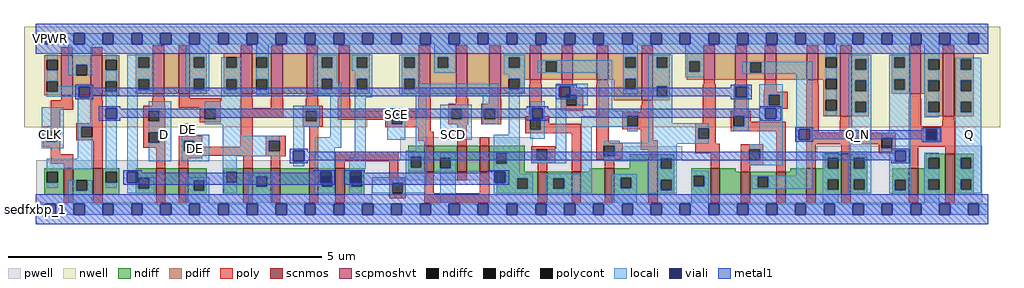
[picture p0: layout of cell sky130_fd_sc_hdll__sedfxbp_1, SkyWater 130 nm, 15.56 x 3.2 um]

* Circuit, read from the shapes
.subckt sky130_fd_sc_hdll__sedfxbp_1 CLK D DE SCD SCE VGND VNB VPB VPWR Q Q_N
XM1 VGND CLK n1 VNB sky130_fd_pr__nfet_01v8 w=0.42 l=0.15
XM2 n2 n1 VGND VNB sky130_fd_pr__nfet_01v8 w=0.42 l=0.15
XM3 n3 D n4 VNB sky130_fd_pr__nfet_01v8 w=0.42 l=0.15
XM4 VGND DE n3 VNB sky130_fd_pr__nfet_01v8 w=0.42 l=0.15
XM5 VGND DE n5 VNB sky130_fd_pr__nfet_01v8 w=0.42 l=0.15
XM6 n6 n5 VGND VNB sky130_fd_pr__nfet_01v8 w=0.42 l=0.15
XM7 n4 n7 n6 VNB sky130_fd_pr__nfet_01v8 w=0.42 l=0.15
XM8 n8 n9 n4 VNB sky130_fd_pr__nfet_01v8 w=0.42 l=0.15
XM9 VGND SCE n9 VNB sky130_fd_pr__nfet_01v8 w=0.42 l=0.15
XM10 n10 SCD VGND VNB sky130_fd_pr__nfet_01v8 w=0.42 l=0.15
XM11 n8 SCE n10 VNB sky130_fd_pr__nfet_01v8 w=0.42 l=0.15
XM12 n11 n1 n8 VNB sky130_fd_pr__nfet_01v8 w=0.36 l=0.15
XM13 n12 n2 n11 VNB sky130_fd_pr__nfet_01v8 w=0.36 l=0.15
XM14 VGND n13 n12 VNB sky130_fd_pr__nfet_01v8 w=0.42 l=0.15
XM15 n13 n11 VGND VNB sky130_fd_pr__nfet_01v8 w=0.64 l=0.15
XM16 n14 n13 VGND VNB sky130_fd_pr__nfet_01v8 w=0.42 l=0.15
XM17 n15 n2 n14 VNB sky130_fd_pr__nfet_01v8 w=0.36 l=0.15
XM18 n16 n1 n15 VNB sky130_fd_pr__nfet_01v8 w=0.36 l=0.15
XM19 VGND n7 n16 VNB sky130_fd_pr__nfet_01v8 w=0.42 l=0.15
XM20 Q_N n7 VGND VNB sky130_fd_pr__nfet_01v8 w=0.65 l=0.15
XM21 VGND n15 n7 VNB sky130_fd_pr__nfet_01v8 w=0.42 l=0.15
XM22 Q n15 VGND VNB sky130_fd_pr__nfet_01v8 w=0.65 l=0.15
XM23 VPWR CLK n1 VPB sky130_fd_pr__pfet_01v8_hvt w=0.64 l=0.18
XM24 n2 n1 VPWR VPB sky130_fd_pr__pfet_01v8_hvt w=0.64 l=0.18
XM25 n17 D n4 VPB sky130_fd_pr__pfet_01v8_hvt w=0.64 l=0.18
XM26 VPWR n5 n17 VPB sky130_fd_pr__pfet_01v8_hvt w=0.64 l=0.18
XM27 VPWR DE n5 VPB sky130_fd_pr__pfet_01v8_hvt w=0.64 l=0.18
XM28 n18 DE VPWR VPB sky130_fd_pr__pfet_01v8_hvt w=0.64 l=0.18
XM29 n4 n7 n18 VPB sky130_fd_pr__pfet_01v8_hvt w=0.64 l=0.18
XM30 n8 SCE n4 VPB sky130_fd_pr__pfet_01v8_hvt w=0.64 l=0.18
XM31 VPWR SCE n9 VPB sky130_fd_pr__pfet_01v8_hvt w=0.64 l=0.18
XM32 n19 SCD VPWR VPB sky130_fd_pr__pfet_01v8_hvt w=0.64 l=0.18
XM33 n8 n9 n19 VPB sky130_fd_pr__pfet_01v8_hvt w=0.64 l=0.18
XM34 n11 n2 n8 VPB sky130_fd_pr__pfet_01v8_hvt w=0.42 l=0.18
XM35 n20 n1 n11 VPB sky130_fd_pr__pfet_01v8_hvt w=0.42 l=0.18
XM36 VPWR n13 n20 VPB sky130_fd_pr__pfet_01v8_hvt w=0.42 l=0.18
XM37 n13 n11 VPWR VPB sky130_fd_pr__pfet_01v8_hvt w=0.75 l=0.18
XM38 n21 n13 VPWR VPB sky130_fd_pr__pfet_01v8_hvt w=0.42 l=0.18
XM39 n15 n1 n21 VPB sky130_fd_pr__pfet_01v8_hvt w=0.42 l=0.18
XM40 n22 n2 n15 VPB sky130_fd_pr__pfet_01v8_hvt w=0.42 l=0.18
XM41 VPWR n7 n22 VPB sky130_fd_pr__pfet_01v8_hvt w=0.42 l=0.18
XM42 Q_N n7 VPWR VPB sky130_fd_pr__pfet_01v8_hvt w=1 l=0.18
XM43 VPWR n15 n7 VPB sky130_fd_pr__pfet_01v8_hvt w=0.64 l=0.18
XM44 Q n15 VPWR VPB sky130_fd_pr__pfet_01v8_hvt w=1 l=0.18
.ends

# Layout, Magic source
magic
tech sky130A
magscale 1 2
<< nwell >>
rect -38 287 3074 582
rect -38 261 1057 287
rect 1597 261 3074 287
<< pwell >>
rect 1161 157 1584 229
rect 1867 157 2061 201
rect 2490 157 3017 203
rect 1 93 3017 157
rect 1 21 1073 93
rect 1444 21 3017 93
rect 29 -17 63 21
<< scnmos >>
rect 89 47 119 131
rect 183 47 213 131
rect 383 47 413 131
rect 455 47 485 131
rect 661 47 691 131
rect 749 47 779 131
rect 871 47 901 131
rect 955 47 985 131
rect 1239 119 1269 203
rect 1343 119 1373 203
rect 1415 119 1445 203
rect 1600 47 1630 119
rect 1708 47 1738 119
rect 1814 47 1844 131
rect 1953 47 1983 175
rect 2151 47 2181 131
rect 2248 47 2278 119
rect 2361 47 2391 119
rect 2456 47 2486 131
rect 2568 47 2598 177
rect 2783 47 2813 131
rect 2900 47 2930 177
<< scpmoshvt >>
rect 81 363 117 491
rect 175 363 211 491
rect 373 369 409 497
rect 455 369 491 497
rect 653 369 689 497
rect 751 369 787 497
rect 863 369 899 497
rect 965 369 1001 497
rect 1221 369 1257 497
rect 1340 369 1376 497
rect 1446 369 1482 497
rect 1575 413 1611 497
rect 1676 413 1712 497
rect 1789 413 1825 497
rect 1931 347 1967 497
rect 2129 413 2165 497
rect 2230 413 2266 497
rect 2324 413 2360 497
rect 2458 413 2494 497
rect 2565 297 2601 497
rect 2785 369 2821 497
rect 2892 297 2928 497
<< ndiff >>
rect 27 119 89 131
rect 27 85 35 119
rect 69 85 89 119
rect 27 47 89 85
rect 119 93 183 131
rect 119 59 129 93
rect 163 59 183 93
rect 119 47 183 59
rect 213 119 265 131
rect 213 85 223 119
rect 257 85 265 119
rect 213 47 265 85
rect 319 100 383 131
rect 319 66 327 100
rect 361 66 383 100
rect 319 47 383 66
rect 413 47 455 131
rect 485 93 545 131
rect 485 59 503 93
rect 537 59 545 93
rect 485 47 545 59
rect 599 119 661 131
rect 599 85 607 119
rect 641 85 661 119
rect 599 47 661 85
rect 691 106 749 131
rect 691 72 703 106
rect 737 72 749 106
rect 691 47 749 72
rect 779 47 871 131
rect 901 106 955 131
rect 901 72 911 106
rect 945 72 955 106
rect 901 47 955 72
rect 985 106 1047 131
rect 985 72 1005 106
rect 1039 72 1047 106
rect 985 47 1047 72
rect 1187 167 1239 203
rect 1187 133 1195 167
rect 1229 133 1239 167
rect 1187 119 1239 133
rect 1269 165 1343 203
rect 1269 131 1289 165
rect 1323 131 1343 165
rect 1269 119 1343 131
rect 1373 119 1415 203
rect 1445 180 1558 203
rect 1445 146 1467 180
rect 1501 146 1558 180
rect 1445 119 1558 146
rect 1893 131 1953 175
rect 1764 119 1814 131
rect 1470 99 1600 119
rect 1470 65 1534 99
rect 1568 65 1600 99
rect 1470 47 1600 65
rect 1630 99 1708 119
rect 1630 65 1650 99
rect 1684 65 1708 99
rect 1630 47 1708 65
rect 1738 47 1814 119
rect 1844 101 1953 131
rect 1844 67 1865 101
rect 1899 67 1953 101
rect 1844 47 1953 67
rect 1983 163 2035 175
rect 1983 129 1993 163
rect 2027 129 2035 163
rect 1983 95 2035 129
rect 1983 61 1993 95
rect 2027 61 2035 95
rect 1983 47 2035 61
rect 2089 107 2151 131
rect 2089 73 2097 107
rect 2131 73 2151 107
rect 2089 47 2151 73
rect 2181 119 2231 131
rect 2516 164 2568 177
rect 2516 131 2524 164
rect 2406 119 2456 131
rect 2181 47 2248 119
rect 2278 104 2361 119
rect 2278 70 2301 104
rect 2335 70 2361 104
rect 2278 47 2361 70
rect 2391 47 2456 119
rect 2486 130 2524 131
rect 2558 130 2568 164
rect 2486 96 2568 130
rect 2486 62 2524 96
rect 2558 62 2568 96
rect 2486 47 2568 62
rect 2598 164 2650 177
rect 2598 130 2608 164
rect 2642 130 2650 164
rect 2838 164 2900 177
rect 2838 131 2846 164
rect 2598 96 2650 130
rect 2598 62 2608 96
rect 2642 62 2650 96
rect 2598 47 2650 62
rect 2731 94 2783 131
rect 2731 60 2739 94
rect 2773 60 2783 94
rect 2731 47 2783 60
rect 2813 130 2846 131
rect 2880 130 2900 164
rect 2813 96 2900 130
rect 2813 62 2846 96
rect 2880 62 2900 96
rect 2813 47 2900 62
rect 2930 164 2991 177
rect 2930 130 2949 164
rect 2983 130 2991 164
rect 2930 96 2991 130
rect 2930 62 2949 96
rect 2983 62 2991 96
rect 2930 47 2991 62
<< pdiff >>
rect 27 477 81 491
rect 27 443 35 477
rect 69 443 81 477
rect 27 409 81 443
rect 27 375 35 409
rect 69 375 81 409
rect 27 363 81 375
rect 117 461 175 491
rect 117 427 129 461
rect 163 427 175 461
rect 117 363 175 427
rect 211 477 265 491
rect 211 443 223 477
rect 257 443 265 477
rect 211 409 265 443
rect 211 375 223 409
rect 257 375 265 409
rect 211 363 265 375
rect 319 485 373 497
rect 319 451 327 485
rect 361 451 373 485
rect 319 415 373 451
rect 319 381 327 415
rect 361 381 373 415
rect 319 369 373 381
rect 409 369 455 497
rect 491 485 545 497
rect 491 451 503 485
rect 537 451 545 485
rect 491 417 545 451
rect 491 383 503 417
rect 537 383 545 417
rect 491 369 545 383
rect 599 485 653 497
rect 599 451 607 485
rect 641 451 653 485
rect 599 415 653 451
rect 599 381 607 415
rect 641 381 653 415
rect 599 369 653 381
rect 689 485 751 497
rect 689 451 703 485
rect 737 451 751 485
rect 689 415 751 451
rect 689 381 703 415
rect 737 381 751 415
rect 689 369 751 381
rect 787 369 863 497
rect 899 485 965 497
rect 899 451 911 485
rect 945 451 965 485
rect 899 417 965 451
rect 899 383 911 417
rect 945 383 965 417
rect 899 369 965 383
rect 1001 485 1065 497
rect 1001 451 1023 485
rect 1057 451 1065 485
rect 1001 417 1065 451
rect 1001 383 1023 417
rect 1057 383 1065 417
rect 1001 369 1065 383
rect 1166 485 1221 497
rect 1166 451 1174 485
rect 1208 451 1221 485
rect 1166 417 1221 451
rect 1166 383 1174 417
rect 1208 383 1221 417
rect 1166 369 1221 383
rect 1257 485 1340 497
rect 1257 451 1281 485
rect 1315 451 1340 485
rect 1257 369 1340 451
rect 1376 369 1446 497
rect 1482 485 1575 497
rect 1482 451 1508 485
rect 1542 451 1575 485
rect 1482 417 1575 451
rect 1482 383 1508 417
rect 1542 413 1575 417
rect 1611 472 1676 497
rect 1611 438 1626 472
rect 1660 438 1676 472
rect 1611 413 1676 438
rect 1712 413 1789 497
rect 1825 485 1931 497
rect 1825 451 1879 485
rect 1913 451 1931 485
rect 1825 417 1931 451
rect 1825 413 1879 417
rect 1542 383 1558 413
rect 1482 369 1558 383
rect 1842 383 1879 413
rect 1913 383 1931 417
rect 1842 347 1931 383
rect 1967 485 2021 497
rect 1967 451 1979 485
rect 2013 451 2021 485
rect 1967 393 2021 451
rect 2075 472 2129 497
rect 2075 438 2083 472
rect 2117 438 2129 472
rect 2075 413 2129 438
rect 2165 413 2230 497
rect 2266 469 2324 497
rect 2266 435 2278 469
rect 2312 435 2324 469
rect 2266 413 2324 435
rect 2360 413 2458 497
rect 2494 485 2565 497
rect 2494 451 2519 485
rect 2553 451 2565 485
rect 2494 417 2565 451
rect 2494 413 2519 417
rect 1967 359 1979 393
rect 2013 359 2021 393
rect 1967 347 2021 359
rect 2511 383 2519 413
rect 2553 383 2565 417
rect 2511 349 2565 383
rect 2511 315 2519 349
rect 2553 315 2565 349
rect 2511 297 2565 315
rect 2601 479 2655 497
rect 2601 445 2613 479
rect 2647 445 2655 479
rect 2601 411 2655 445
rect 2601 377 2613 411
rect 2647 377 2655 411
rect 2601 343 2655 377
rect 2729 485 2785 497
rect 2729 451 2737 485
rect 2771 451 2785 485
rect 2729 415 2785 451
rect 2729 381 2737 415
rect 2771 381 2785 415
rect 2729 369 2785 381
rect 2821 479 2892 497
rect 2821 445 2846 479
rect 2880 445 2892 479
rect 2821 411 2892 445
rect 2821 377 2846 411
rect 2880 377 2892 411
rect 2821 369 2892 377
rect 2601 309 2613 343
rect 2647 309 2655 343
rect 2601 297 2655 309
rect 2838 343 2892 369
rect 2838 309 2846 343
rect 2880 309 2892 343
rect 2838 297 2892 309
rect 2928 479 2991 497
rect 2928 445 2949 479
rect 2983 445 2991 479
rect 2928 411 2991 445
rect 2928 377 2949 411
rect 2983 377 2991 411
rect 2928 343 2991 377
rect 2928 309 2949 343
rect 2983 309 2991 343
rect 2928 297 2991 309
<< ndiffc >>
rect 35 85 69 119
rect 129 59 163 93
rect 223 85 257 119
rect 327 66 361 100
rect 503 59 537 93
rect 607 85 641 119
rect 703 72 737 106
rect 911 72 945 106
rect 1005 72 1039 106
rect 1195 133 1229 167
rect 1289 131 1323 165
rect 1467 146 1501 180
rect 1534 65 1568 99
rect 1650 65 1684 99
rect 1865 67 1899 101
rect 1993 129 2027 163
rect 1993 61 2027 95
rect 2097 73 2131 107
rect 2301 70 2335 104
rect 2524 130 2558 164
rect 2524 62 2558 96
rect 2608 130 2642 164
rect 2608 62 2642 96
rect 2739 60 2773 94
rect 2846 130 2880 164
rect 2846 62 2880 96
rect 2949 130 2983 164
rect 2949 62 2983 96
<< pdiffc >>
rect 35 443 69 477
rect 35 375 69 409
rect 129 427 163 461
rect 223 443 257 477
rect 223 375 257 409
rect 327 451 361 485
rect 327 381 361 415
rect 503 451 537 485
rect 503 383 537 417
rect 607 451 641 485
rect 607 381 641 415
rect 703 451 737 485
rect 703 381 737 415
rect 911 451 945 485
rect 911 383 945 417
rect 1023 451 1057 485
rect 1023 383 1057 417
rect 1174 451 1208 485
rect 1174 383 1208 417
rect 1281 451 1315 485
rect 1508 451 1542 485
rect 1508 383 1542 417
rect 1626 438 1660 472
rect 1879 451 1913 485
rect 1879 383 1913 417
rect 1979 451 2013 485
rect 2083 438 2117 472
rect 2278 435 2312 469
rect 2519 451 2553 485
rect 1979 359 2013 393
rect 2519 383 2553 417
rect 2519 315 2553 349
rect 2613 445 2647 479
rect 2613 377 2647 411
rect 2737 451 2771 485
rect 2737 381 2771 415
rect 2846 445 2880 479
rect 2846 377 2880 411
rect 2613 309 2647 343
rect 2846 309 2880 343
rect 2949 445 2983 479
rect 2949 377 2983 411
rect 2949 309 2983 343
<< poly >>
rect 81 491 117 517
rect 175 491 211 517
rect 373 497 409 523
rect 455 497 491 523
rect 653 497 689 523
rect 751 497 787 523
rect 863 497 899 523
rect 965 497 1001 523
rect 1221 497 1257 523
rect 1340 497 1376 523
rect 1446 497 1482 523
rect 1575 497 1611 523
rect 1676 497 1712 523
rect 1789 497 1825 523
rect 1931 497 1967 523
rect 2129 497 2165 523
rect 2230 497 2266 523
rect 2324 497 2360 523
rect 2458 497 2494 523
rect 2565 497 2601 523
rect 2785 497 2821 523
rect 2892 497 2928 523
rect 1575 398 1611 413
rect 1676 398 1712 413
rect 1789 398 1825 413
rect 81 348 117 363
rect 175 348 211 363
rect 373 354 409 369
rect 455 354 491 369
rect 653 354 689 369
rect 751 354 787 369
rect 863 354 899 369
rect 965 354 1001 369
rect 1221 354 1257 369
rect 1340 354 1376 369
rect 1446 354 1482 369
rect 47 318 119 348
rect 47 265 77 318
rect 173 274 213 348
rect 371 330 411 354
rect 23 249 77 265
rect 23 215 33 249
rect 67 215 77 249
rect 129 264 213 274
rect 129 230 145 264
rect 179 230 213 264
rect 129 220 213 230
rect 23 199 77 215
rect 47 176 77 199
rect 47 146 119 176
rect 89 131 119 146
rect 183 131 213 220
rect 343 314 413 330
rect 455 324 589 354
rect 343 280 359 314
rect 393 280 413 314
rect 343 246 413 280
rect 523 321 589 324
rect 523 287 539 321
rect 573 287 589 321
rect 523 277 589 287
rect 651 322 691 354
rect 749 322 789 354
rect 861 330 901 354
rect 651 292 789 322
rect 851 314 915 330
rect 343 212 359 246
rect 393 212 413 246
rect 343 196 413 212
rect 383 131 413 196
rect 455 219 531 235
rect 455 185 471 219
rect 505 200 531 219
rect 651 200 691 292
rect 851 280 861 314
rect 895 280 915 314
rect 963 315 1003 354
rect 1219 315 1259 354
rect 1338 337 1378 354
rect 1444 337 1484 354
rect 963 305 1259 315
rect 963 285 1134 305
rect 851 264 915 280
rect 1114 271 1134 285
rect 1168 271 1259 305
rect 1314 321 1378 337
rect 1314 287 1324 321
rect 1358 287 1378 321
rect 1314 271 1378 287
rect 1420 321 1484 337
rect 1420 287 1430 321
rect 1464 287 1484 321
rect 1573 297 1613 398
rect 1674 381 1714 398
rect 1674 365 1745 381
rect 1674 331 1691 365
rect 1725 331 1745 365
rect 1674 315 1745 331
rect 1420 271 1484 287
rect 1560 287 1636 297
rect 505 185 691 200
rect 455 170 691 185
rect 455 162 531 170
rect 455 131 485 162
rect 661 131 691 170
rect 733 219 797 235
rect 733 185 743 219
rect 777 185 797 219
rect 733 169 797 185
rect 749 131 779 169
rect 871 131 901 264
rect 1114 261 1259 271
rect 1219 247 1259 261
rect 1219 218 1269 247
rect 1239 203 1269 218
rect 1343 203 1373 271
rect 1560 253 1576 287
rect 1610 273 1636 287
rect 1610 253 1738 273
rect 1560 243 1738 253
rect 1415 203 1445 229
rect 955 153 1156 183
rect 955 131 985 153
rect 1126 101 1156 153
rect 1580 191 1656 201
rect 1580 157 1596 191
rect 1630 157 1656 191
rect 1580 147 1656 157
rect 1600 119 1630 147
rect 1708 119 1738 243
rect 1787 213 1827 398
rect 2129 398 2165 413
rect 2230 398 2266 413
rect 2324 398 2360 413
rect 2458 398 2494 413
rect 1931 332 1967 347
rect 1929 309 1969 332
rect 1869 299 1969 309
rect 1869 265 1885 299
rect 1919 265 1969 299
rect 2127 275 2167 398
rect 2228 315 2268 398
rect 2322 375 2362 398
rect 2321 365 2397 375
rect 2321 331 2337 365
rect 2371 331 2397 365
rect 2321 321 2397 331
rect 1869 255 1969 265
rect 1929 220 1969 255
rect 2102 259 2167 275
rect 2102 225 2112 259
rect 2146 225 2167 259
rect 2215 299 2279 315
rect 2215 265 2225 299
rect 2259 279 2279 299
rect 2259 265 2391 279
rect 2215 249 2391 265
rect 1787 203 1871 213
rect 1787 169 1811 203
rect 1845 169 1871 203
rect 1929 190 1983 220
rect 1953 175 1983 190
rect 2102 209 2167 225
rect 2102 179 2181 209
rect 1787 159 1871 169
rect 1814 131 1844 159
rect 1126 85 1180 101
rect 1126 51 1136 85
rect 1170 51 1180 85
rect 89 21 119 47
rect 183 21 213 47
rect 383 21 413 47
rect 455 21 485 47
rect 661 21 691 47
rect 749 21 779 47
rect 871 21 901 47
rect 955 21 985 47
rect 1126 35 1180 51
rect 1239 51 1269 119
rect 1343 93 1373 119
rect 1415 51 1445 119
rect 1239 21 1445 51
rect 2151 131 2181 179
rect 2248 191 2319 207
rect 2248 157 2275 191
rect 2309 157 2319 191
rect 2248 141 2319 157
rect 2248 119 2278 141
rect 2361 119 2391 249
rect 2456 244 2496 398
rect 2785 354 2821 369
rect 2565 282 2601 297
rect 2563 244 2603 282
rect 2783 265 2823 354
rect 2892 282 2928 297
rect 2890 265 2930 282
rect 2783 249 2930 265
rect 2456 228 2741 244
rect 2456 207 2697 228
rect 2456 131 2486 207
rect 2568 177 2598 207
rect 2687 194 2697 207
rect 2731 194 2741 228
rect 2687 178 2741 194
rect 2783 215 2839 249
rect 2873 215 2930 249
rect 2783 199 2930 215
rect 2783 131 2813 199
rect 2900 177 2930 199
rect 1600 21 1630 47
rect 1708 21 1738 47
rect 1814 21 1844 47
rect 1953 21 1983 47
rect 2151 21 2181 47
rect 2248 21 2278 47
rect 2361 21 2391 47
rect 2456 21 2486 47
rect 2568 21 2598 47
rect 2783 21 2813 47
rect 2900 21 2930 47
<< polycont >>
rect 33 215 67 249
rect 145 230 179 264
rect 359 280 393 314
rect 539 287 573 321
rect 359 212 393 246
rect 471 185 505 219
rect 861 280 895 314
rect 1134 271 1168 305
rect 1324 287 1358 321
rect 1430 287 1464 321
rect 1691 331 1725 365
rect 743 185 777 219
rect 1576 253 1610 287
rect 1596 157 1630 191
rect 1885 265 1919 299
rect 2337 331 2371 365
rect 2112 225 2146 259
rect 2225 265 2259 299
rect 1811 169 1845 203
rect 1136 51 1170 85
rect 2275 157 2309 191
rect 2697 194 2731 228
rect 2839 215 2873 249
<< locali >>
rect 0 527 29 561
rect 63 527 121 561
rect 155 527 213 561
rect 247 527 305 561
rect 339 527 397 561
rect 431 527 489 561
rect 523 527 581 561
rect 615 527 673 561
rect 707 527 765 561
rect 799 527 857 561
rect 891 527 949 561
rect 983 527 1041 561
rect 1075 527 1133 561
rect 1167 527 1225 561
rect 1259 527 1317 561
rect 1351 527 1409 561
rect 1443 527 1501 561
rect 1535 527 1593 561
rect 1627 527 1685 561
rect 1719 527 1777 561
rect 1811 527 1869 561
rect 1903 527 1961 561
rect 1995 527 2053 561
rect 2087 527 2145 561
rect 2179 527 2237 561
rect 2271 527 2329 561
rect 2363 527 2421 561
rect 2455 527 2513 561
rect 2547 527 2605 561
rect 2639 527 2697 561
rect 2731 527 2789 561
rect 2823 527 2881 561
rect 2915 527 2973 561
rect 3007 527 3036 561
rect 35 477 69 493
rect 35 409 69 443
rect 103 461 179 527
rect 103 427 129 461
rect 163 427 179 461
rect 223 477 257 493
rect 223 409 257 443
rect 69 391 179 393
rect 69 375 137 391
rect 35 359 137 375
rect 133 357 137 359
rect 171 357 179 391
rect 19 249 89 325
rect 19 215 33 249
rect 67 215 89 249
rect 19 195 89 215
rect 133 264 179 357
rect 133 230 145 264
rect 133 161 179 230
rect 35 127 179 161
rect 223 323 257 375
rect 35 119 69 127
rect 223 119 257 289
rect 35 69 69 85
rect 103 59 129 93
rect 163 59 179 93
rect 223 69 257 85
rect 291 485 377 493
rect 291 451 327 485
rect 361 451 377 485
rect 291 415 377 451
rect 291 381 327 415
rect 361 381 377 415
rect 291 378 377 381
rect 477 485 553 527
rect 703 485 742 527
rect 477 451 503 485
rect 537 451 553 485
rect 477 417 553 451
rect 477 383 503 417
rect 537 383 553 417
rect 477 378 553 383
rect 591 451 607 485
rect 641 451 657 485
rect 591 415 657 451
rect 591 381 607 415
rect 641 381 657 415
rect 291 119 325 378
rect 591 344 657 381
rect 737 451 742 485
rect 703 415 742 451
rect 737 381 742 415
rect 703 365 742 381
rect 885 485 961 493
rect 885 451 911 485
rect 945 451 961 485
rect 885 417 961 451
rect 1007 485 1073 493
rect 1007 451 1023 485
rect 1057 451 1073 485
rect 1007 442 1073 451
rect 885 383 911 417
rect 945 404 961 417
rect 1017 417 1073 442
rect 945 383 973 404
rect 885 364 973 383
rect 359 314 431 344
rect 393 280 431 314
rect 359 246 431 280
rect 539 321 657 344
rect 573 287 657 321
rect 393 212 431 246
rect 359 153 431 212
rect 465 237 505 274
rect 539 271 657 287
rect 465 219 553 237
rect 465 185 471 219
rect 505 185 553 219
rect 465 153 553 185
rect 596 235 657 271
rect 821 314 905 330
rect 821 280 861 314
rect 895 280 905 314
rect 821 264 905 280
rect 596 219 777 235
rect 596 185 743 219
rect 596 169 777 185
rect 821 187 855 264
rect 939 230 973 364
rect 596 119 641 169
rect 821 137 855 153
rect 889 196 973 230
rect 1017 383 1023 417
rect 1057 383 1073 417
rect 1017 357 1073 383
rect 1158 485 1226 493
rect 1158 451 1174 485
rect 1208 451 1226 485
rect 1158 417 1226 451
rect 1270 485 1339 527
rect 1270 451 1281 485
rect 1315 451 1339 485
rect 1270 435 1339 451
rect 1492 485 1558 493
rect 1492 451 1508 485
rect 1542 451 1558 485
rect 1872 485 1919 527
rect 1492 430 1558 451
rect 1600 472 1838 475
rect 1600 438 1626 472
rect 1660 438 1838 472
rect 1600 435 1838 438
rect 1158 383 1174 417
rect 1208 401 1226 417
rect 1508 417 1558 430
rect 1208 383 1474 401
rect 1158 367 1474 383
rect 325 100 377 103
rect 325 85 327 100
rect 103 17 179 59
rect 291 66 327 85
rect 361 66 377 100
rect 291 51 377 66
rect 477 93 553 103
rect 477 59 503 93
rect 537 59 553 93
rect 477 17 553 59
rect 596 85 607 119
rect 596 51 641 85
rect 677 106 753 122
rect 677 72 703 106
rect 737 72 753 106
rect 677 17 753 72
rect 889 119 953 196
rect 1017 165 1051 357
rect 1121 305 1177 323
rect 1121 271 1134 305
rect 1168 271 1177 305
rect 1121 221 1177 271
rect 1211 187 1245 367
rect 1289 321 1390 333
rect 1289 287 1324 321
rect 1358 287 1390 321
rect 1289 221 1390 287
rect 1424 321 1474 367
rect 1424 287 1430 321
rect 1464 287 1474 321
rect 1424 271 1474 287
rect 1542 383 1558 417
rect 1508 373 1558 383
rect 1657 391 1760 401
rect 1508 237 1542 373
rect 1657 357 1669 391
rect 1703 365 1760 391
rect 889 85 907 119
rect 941 106 953 119
rect 889 72 911 85
rect 945 72 953 106
rect 889 51 953 72
rect 999 129 1051 165
rect 1179 167 1245 187
rect 1179 133 1195 167
rect 1229 133 1245 167
rect 999 119 1039 129
rect 999 85 1003 119
rect 1037 106 1039 119
rect 1179 103 1245 133
rect 999 72 1005 85
rect 999 51 1039 72
rect 1073 85 1245 103
rect 1073 51 1136 85
rect 1170 51 1245 85
rect 1289 165 1339 181
rect 1323 131 1339 165
rect 1289 17 1339 131
rect 1460 180 1542 237
rect 1576 323 1623 344
rect 1576 289 1582 323
rect 1616 289 1623 323
rect 1576 287 1623 289
rect 1610 253 1623 287
rect 1576 225 1623 253
rect 1657 191 1691 357
rect 1725 331 1760 365
rect 1794 315 1838 435
rect 1872 451 1879 485
rect 1913 451 1919 485
rect 1872 417 1919 451
rect 1872 383 1879 417
rect 1913 383 1919 417
rect 1872 367 1919 383
rect 1953 485 2029 493
rect 1953 451 1979 485
rect 2013 451 2029 485
rect 1953 393 2029 451
rect 2071 472 2129 527
rect 2071 438 2083 472
rect 2117 438 2129 472
rect 2519 485 2553 527
rect 2071 421 2129 438
rect 2252 469 2475 471
rect 2252 435 2278 469
rect 2312 435 2475 469
rect 2252 433 2475 435
rect 1953 359 1979 393
rect 2013 359 2029 393
rect 1794 299 1919 315
rect 1794 297 1885 299
rect 1460 146 1467 180
rect 1501 146 1542 180
rect 1580 157 1596 191
rect 1630 157 1691 191
rect 1580 147 1691 157
rect 1739 265 1885 297
rect 1739 263 1919 265
rect 1460 119 1542 146
rect 1460 85 1463 119
rect 1497 113 1542 119
rect 1739 113 1773 263
rect 1885 249 1919 263
rect 1953 275 2029 359
rect 2225 391 2273 393
rect 2225 357 2232 391
rect 2266 357 2273 391
rect 2225 299 2273 357
rect 1953 259 2146 275
rect 1953 225 2112 259
rect 2259 265 2273 299
rect 2225 249 2273 265
rect 2307 365 2381 399
rect 2307 331 2337 365
rect 2371 331 2381 365
rect 2307 323 2381 331
rect 2307 289 2326 323
rect 2360 289 2381 323
rect 1811 213 1861 219
rect 1953 213 2146 225
rect 1811 209 2146 213
rect 1811 203 2044 209
rect 2307 207 2381 289
rect 1845 169 2044 203
rect 1811 163 2044 169
rect 1811 153 1993 163
rect 1497 99 1584 113
rect 1497 85 1534 99
rect 1460 65 1534 85
rect 1568 65 1584 99
rect 1460 51 1584 65
rect 1628 99 1773 113
rect 1953 129 1993 153
rect 2027 129 2044 163
rect 2275 191 2381 207
rect 2309 157 2381 191
rect 2275 141 2381 157
rect 2425 255 2475 433
rect 2519 417 2553 451
rect 2519 349 2553 383
rect 2519 299 2553 315
rect 2592 479 2663 493
rect 2592 445 2613 479
rect 2647 445 2663 479
rect 2592 411 2663 445
rect 2592 377 2613 411
rect 2647 377 2663 411
rect 2592 343 2663 377
rect 2592 309 2613 343
rect 2647 309 2663 343
rect 2425 221 2433 255
rect 2467 221 2475 255
rect 1628 65 1650 99
rect 1684 65 1773 99
rect 1628 51 1773 65
rect 1836 101 1915 112
rect 1836 67 1865 101
rect 1899 67 1915 101
rect 1836 17 1915 67
rect 1953 95 2044 129
rect 1953 61 1993 95
rect 2027 61 2044 95
rect 1953 51 2044 61
rect 2090 107 2145 123
rect 2425 107 2475 221
rect 2090 73 2097 107
rect 2131 73 2145 107
rect 2090 17 2145 73
rect 2282 104 2475 107
rect 2282 70 2301 104
rect 2335 70 2475 104
rect 2282 66 2475 70
rect 2509 164 2558 180
rect 2509 130 2524 164
rect 2509 96 2558 130
rect 2509 62 2524 96
rect 2509 17 2558 62
rect 2592 164 2663 309
rect 2721 485 2789 493
rect 2721 451 2737 485
rect 2771 451 2789 485
rect 2721 415 2789 451
rect 2721 381 2737 415
rect 2771 381 2789 415
rect 2721 244 2789 381
rect 2833 479 2880 527
rect 2833 445 2846 479
rect 2833 411 2880 445
rect 2833 377 2846 411
rect 2833 343 2880 377
rect 2833 309 2846 343
rect 2833 293 2880 309
rect 2931 479 3014 484
rect 2931 445 2949 479
rect 2983 445 3014 479
rect 2931 411 3014 445
rect 2931 377 2949 411
rect 2983 377 3014 411
rect 2931 343 3014 377
rect 2931 309 2949 343
rect 2983 309 3014 343
rect 2697 228 2789 244
rect 2731 194 2789 228
rect 2823 255 2889 259
rect 2823 215 2839 255
rect 2873 215 2889 255
rect 2823 214 2889 215
rect 2697 187 2789 194
rect 2697 178 2740 187
rect 2592 130 2608 164
rect 2642 130 2663 164
rect 2592 96 2663 130
rect 2592 62 2608 96
rect 2642 62 2663 96
rect 2592 51 2663 62
rect 2721 153 2740 178
rect 2774 153 2789 187
rect 2721 94 2789 153
rect 2721 60 2739 94
rect 2773 60 2789 94
rect 2721 51 2789 60
rect 2833 164 2880 180
rect 2833 130 2846 164
rect 2833 96 2880 130
rect 2833 62 2846 96
rect 2833 17 2880 62
rect 2931 164 3014 309
rect 2931 130 2949 164
rect 2983 130 3014 164
rect 2931 96 3014 130
rect 2931 62 2949 96
rect 2983 62 3014 96
rect 2931 51 3014 62
rect 0 -17 29 17
rect 63 -17 121 17
rect 155 -17 213 17
rect 247 -17 305 17
rect 339 -17 397 17
rect 431 -17 489 17
rect 523 -17 581 17
rect 615 -17 673 17
rect 707 -17 765 17
rect 799 -17 857 17
rect 891 -17 949 17
rect 983 -17 1041 17
rect 1075 -17 1133 17
rect 1167 -17 1225 17
rect 1259 -17 1317 17
rect 1351 -17 1409 17
rect 1443 -17 1501 17
rect 1535 -17 1593 17
rect 1627 -17 1685 17
rect 1719 -17 1777 17
rect 1811 -17 1869 17
rect 1903 -17 1961 17
rect 1995 -17 2053 17
rect 2087 -17 2145 17
rect 2179 -17 2237 17
rect 2271 -17 2329 17
rect 2363 -17 2421 17
rect 2455 -17 2513 17
rect 2547 -17 2605 17
rect 2639 -17 2697 17
rect 2731 -17 2789 17
rect 2823 -17 2881 17
rect 2915 -17 2973 17
rect 3007 -17 3036 17
<< viali >>
rect 29 527 63 561
rect 121 527 155 561
rect 213 527 247 561
rect 305 527 339 561
rect 397 527 431 561
rect 489 527 523 561
rect 581 527 615 561
rect 673 527 707 561
rect 765 527 799 561
rect 857 527 891 561
rect 949 527 983 561
rect 1041 527 1075 561
rect 1133 527 1167 561
rect 1225 527 1259 561
rect 1317 527 1351 561
rect 1409 527 1443 561
rect 1501 527 1535 561
rect 1593 527 1627 561
rect 1685 527 1719 561
rect 1777 527 1811 561
rect 1869 527 1903 561
rect 1961 527 1995 561
rect 2053 527 2087 561
rect 2145 527 2179 561
rect 2237 527 2271 561
rect 2329 527 2363 561
rect 2421 527 2455 561
rect 2513 527 2547 561
rect 2605 527 2639 561
rect 2697 527 2731 561
rect 2789 527 2823 561
rect 2881 527 2915 561
rect 2973 527 3007 561
rect 137 357 171 391
rect 223 289 257 323
rect 291 85 325 119
rect 821 153 855 187
rect 1669 365 1703 391
rect 1669 357 1691 365
rect 1691 357 1703 365
rect 907 106 941 119
rect 907 85 911 106
rect 911 85 941 106
rect 1003 106 1037 119
rect 1003 85 1005 106
rect 1005 85 1037 106
rect 1582 289 1616 323
rect 1463 85 1497 119
rect 2232 357 2266 391
rect 2326 289 2360 323
rect 2433 221 2467 255
rect 2839 249 2873 255
rect 2839 221 2873 249
rect 2740 153 2774 187
rect 29 -17 63 17
rect 121 -17 155 17
rect 213 -17 247 17
rect 305 -17 339 17
rect 397 -17 431 17
rect 489 -17 523 17
rect 581 -17 615 17
rect 673 -17 707 17
rect 765 -17 799 17
rect 857 -17 891 17
rect 949 -17 983 17
rect 1041 -17 1075 17
rect 1133 -17 1167 17
rect 1225 -17 1259 17
rect 1317 -17 1351 17
rect 1409 -17 1443 17
rect 1501 -17 1535 17
rect 1593 -17 1627 17
rect 1685 -17 1719 17
rect 1777 -17 1811 17
rect 1869 -17 1903 17
rect 1961 -17 1995 17
rect 2053 -17 2087 17
rect 2145 -17 2179 17
rect 2237 -17 2271 17
rect 2329 -17 2363 17
rect 2421 -17 2455 17
rect 2513 -17 2547 17
rect 2605 -17 2639 17
rect 2697 -17 2731 17
rect 2789 -17 2823 17
rect 2881 -17 2915 17
rect 2973 -17 3007 17
<< metal1 >>
rect 0 561 3036 592
rect 0 527 29 561
rect 63 527 121 561
rect 155 527 213 561
rect 247 527 305 561
rect 339 527 397 561
rect 431 527 489 561
rect 523 527 581 561
rect 615 527 673 561
rect 707 527 765 561
rect 799 527 857 561
rect 891 527 949 561
rect 983 527 1041 561
rect 1075 527 1133 561
rect 1167 527 1225 561
rect 1259 527 1317 561
rect 1351 527 1409 561
rect 1443 527 1501 561
rect 1535 527 1593 561
rect 1627 527 1685 561
rect 1719 527 1777 561
rect 1811 527 1869 561
rect 1903 527 1961 561
rect 1995 527 2053 561
rect 2087 527 2145 561
rect 2179 527 2237 561
rect 2271 527 2329 561
rect 2363 527 2421 561
rect 2455 527 2513 561
rect 2547 527 2605 561
rect 2639 527 2697 561
rect 2731 527 2789 561
rect 2823 527 2881 561
rect 2915 527 2973 561
rect 3007 527 3036 561
rect 0 496 3036 527
rect 125 391 183 397
rect 125 357 137 391
rect 171 388 183 391
rect 1657 391 1725 397
rect 1657 388 1669 391
rect 171 360 1669 388
rect 171 357 183 360
rect 125 351 183 357
rect 1657 357 1669 360
rect 1703 388 1725 391
rect 2215 391 2283 397
rect 2215 388 2232 391
rect 1703 360 2232 388
rect 1703 357 1725 360
rect 1657 351 1725 357
rect 2215 357 2232 360
rect 2266 357 2283 391
rect 2215 351 2283 357
rect 201 323 269 329
rect 201 289 223 323
rect 257 320 269 323
rect 1565 323 1633 329
rect 1565 320 1582 323
rect 257 292 1582 320
rect 257 289 269 292
rect 201 283 269 289
rect 1565 289 1582 292
rect 1616 320 1633 323
rect 2309 323 2377 329
rect 2309 320 2326 323
rect 1616 292 2326 320
rect 1616 289 1633 292
rect 1565 283 1633 289
rect 2309 289 2326 292
rect 2360 289 2377 323
rect 2309 283 2377 289
rect 2421 255 2479 261
rect 2421 221 2433 255
rect 2467 252 2479 255
rect 2827 255 2885 261
rect 2827 252 2839 255
rect 2467 224 2839 252
rect 2467 221 2479 224
rect 2421 215 2479 221
rect 2827 221 2839 224
rect 2873 221 2885 255
rect 2827 215 2885 221
rect 809 187 867 193
rect 809 153 821 187
rect 855 184 867 187
rect 2728 187 2786 193
rect 2728 184 2740 187
rect 855 156 2740 184
rect 855 153 867 156
rect 809 147 867 153
rect 2728 153 2740 156
rect 2774 153 2786 187
rect 2728 147 2786 153
rect 279 119 337 125
rect 279 85 291 119
rect 325 116 337 119
rect 885 119 953 125
rect 885 116 907 119
rect 325 85 907 116
rect 941 85 953 119
rect 279 79 953 85
rect 981 119 1049 125
rect 981 85 1003 119
rect 1037 116 1049 119
rect 1441 119 1509 125
rect 1441 116 1463 119
rect 1037 85 1463 116
rect 1497 85 1509 119
rect 981 79 1509 85
rect 0 17 3036 48
rect 0 -17 29 17
rect 63 -17 121 17
rect 155 -17 213 17
rect 247 -17 305 17
rect 339 -17 397 17
rect 431 -17 489 17
rect 523 -17 581 17
rect 615 -17 673 17
rect 707 -17 765 17
rect 799 -17 857 17
rect 891 -17 949 17
rect 983 -17 1041 17
rect 1075 -17 1133 17
rect 1167 -17 1225 17
rect 1259 -17 1317 17
rect 1351 -17 1409 17
rect 1443 -17 1501 17
rect 1535 -17 1593 17
rect 1627 -17 1685 17
rect 1719 -17 1777 17
rect 1811 -17 1869 17
rect 1903 -17 1961 17
rect 1995 -17 2053 17
rect 2087 -17 2145 17
rect 2179 -17 2237 17
rect 2271 -17 2329 17
rect 2363 -17 2421 17
rect 2455 -17 2513 17
rect 2547 -17 2605 17
rect 2639 -17 2697 17
rect 2731 -17 2789 17
rect 2823 -17 2881 17
rect 2915 -17 2973 17
rect 3007 -17 3036 17
rect 0 -48 3036 -17
<< labels >>
rlabel comment s 0 0 0 0 4 sedfxbp_1
flabel metal1 s 29 -17 63 17 0 FreeSans 200 0 0 0 VGND
port 6 nsew ground bidirectional
flabel metal1 s 29 527 63 561 0 FreeSans 200 0 0 0 VPWR
port 9 nsew power bidirectional
flabel locali s 1134 286 1168 320 0 FreeSans 400 0 0 0 SCE
port 5 nsew signal input
flabel locali s 2961 221 2995 255 0 FreeSans 400 0 0 0 Q
port 10 nsew signal output
flabel locali s 394 221 428 255 0 FreeSans 400 0 0 0 D
port 2 nsew signal input
flabel locali s 465 237 505 274 0 FreeSans 400 0 0 0 DE
port 3 nsew signal input
flabel locali s 1316 221 1350 255 0 FreeSans 400 0 0 0 SCD
port 4 nsew signal input
flabel locali s 2603 221 2637 255 0 FreeSans 400 0 0 0 Q_N
port 11 nsew signal output
flabel locali s 29 221 63 255 0 FreeSans 400 0 0 0 CLK
port 1 nsew signal input
flabel nwell s 29 527 63 561 0 FreeSans 200 0 0 0 VPB
port 8 nsew power bidirectional
flabel nwell s 46 544 46 544 0 FreeSans 200 0 0 0 VPB
port 8 nsew
flabel pwell s 29 -17 63 17 0 FreeSans 400 0 0 0 VNB
port 7 nsew ground bidirectional
flabel pwell s 29 -17 63 17 0 FreeSans 200 0 0 0 VNB
port 7 nsew
flabel pwell s 46 0 46 0 0 FreeSans 200 0 0 0 VNB
port 7 nsew
rlabel locali s 465 153 553 237 1 DE
port 3 nsew signal input
<< properties >>
string LEFsite unithd
string LEFclass CORE
string FIXED_BBOX 0 0 3036 544
string GDS_FILE $PDKPATH/libs.ref/sky130_fd_sc_hdll/gds/sky130_fd_sc_hdll.gds
string LEFsymmetry X Y R90
string GDS_END 2905854
string GDS_START 2883476
string LEFproperties maskLayoutSubType "abstract" prCellType "standard" originalViewName "layout"
<< end >>
